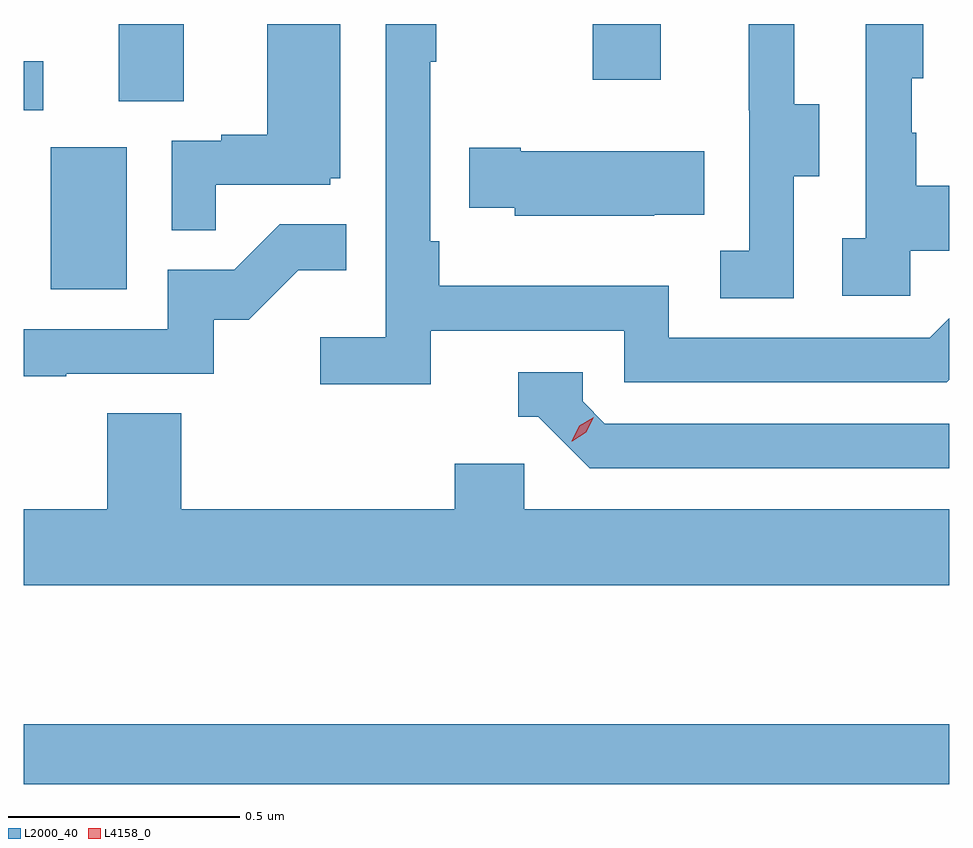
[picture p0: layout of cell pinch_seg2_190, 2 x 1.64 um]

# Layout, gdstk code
import gdstk
lib = gdstk.Library(unit=1e-6, precision=1e-09)
def R(c, l, rs):  # rectangles x0, y0, x1, y1
    for r in rs: c.add(gdstk.rectangle(r[:2], r[2:], *l))
def P(c, l, *ps):  # polygons
    for p in ps: c.add(gdstk.Polygon(p, *l))
L2000_40 = (2000, 40)
L4158_0 = (4158, 0)

pinch_seg2_190 = lib.new_cell('pinch_seg2_190')
R(pinch_seg2_190, L2000_40, [(1100.548,644.542,1102.548,644.671), (1100.606,645.612,1100.77,645.919), (1100.548,645.999,1100.59,646.105), (1100.753,646.018,1100.893,646.185), (1101.778,646.065,1101.925,646.185)])
P(pinch_seg2_190, L2000_40, [(1101.428,645.522),(1101.846,645.522),(1101.846,645.411),(1102.543,645.411),(1102.548,645.416),(1102.548,645.549),(1102.506,645.507),(1101.942,645.507),(1101.942,645.619),(1101.446,645.619),(1101.446,645.715),(1101.426,645.715),(1101.426,646.103),(1101.439,646.103),(1101.439,646.185),(1101.33,646.185),(1101.33,645.508),(1101.189,645.508),(1101.189,645.406),(1101.428,645.406)],
  [(1100.963,645.837),(1101.21,645.837),(1101.21,645.852),(1101.232,645.852),(1101.232,646.185),(1101.074,646.185),(1101.074,645.946),(1100.975,645.946),(1100.975,645.933),(1100.868,645.933),(1100.868,645.739),(1100.963,645.739)],
  [(1102.464,645.695),(1102.548,645.695),(1102.548,645.835),(1102.477,645.835),(1102.477,645.95),(1102.467,645.95),(1102.467,646.068),(1102.492,646.068),(1102.492,646.185),(1102.368,646.185),(1102.368,645.722),(1102.317,645.722),(1102.317,645.597),(1102.464,645.597)],
  [(1102.212,645.856),(1102.267,645.856),(1102.267,646.011),(1102.213,646.011),(1102.213,646.185),(1102.115,646.185),(1102.115,645.999),(1102.116,645.999),(1102.116,645.695),(1102.053,645.695),(1102.053,645.592),(1102.212,645.592)],
  [(1101.911,645.773),(1102.019,645.773),(1102.019,645.91),(1101.622,645.91),(1101.622,645.918),(1101.511,645.918),(1101.511,645.788),(1101.609,645.788),(1101.609,645.77),(1101.911,645.77)],
  [(1100.639,645.429),(1100.958,645.429),(1100.958,645.546),(1101.034,645.546),(1101.141,645.653),(1101.245,645.653),(1101.245,645.752),(1101.101,645.752),(1101.003,645.654),(1100.859,645.654),(1100.859,645.525),(1100.548,645.525),(1100.548,645.424),(1100.639,645.424)],
  [(1102.548,645.321),(1101.804,645.321),(1101.756,645.369),(1101.756,645.432),(1101.617,645.432),(1101.617,645.336),(1101.66,645.336),(1101.771,645.225),(1102.548,645.225)],
  [(1100.728,645.344),(1100.728,645.136),(1100.548,645.136),(1100.548,644.972),(1102.548,644.972),(1102.548,645.136),(1101.63,645.136),(1101.63,645.234),(1101.479,645.234),(1101.479,645.136),(1100.888,645.136),(1100.888,645.344)])
P(pinch_seg2_190, L4158_0, [(1101.732,645.283),(1101.732,645.283),(1101.749,645.316),(1101.78,645.335),(1101.78,645.335),(1101.78,645.335),(1101.764,645.302),(1101.733,645.283)])

lib.write_gds('pinch_seg2_190.gds')
